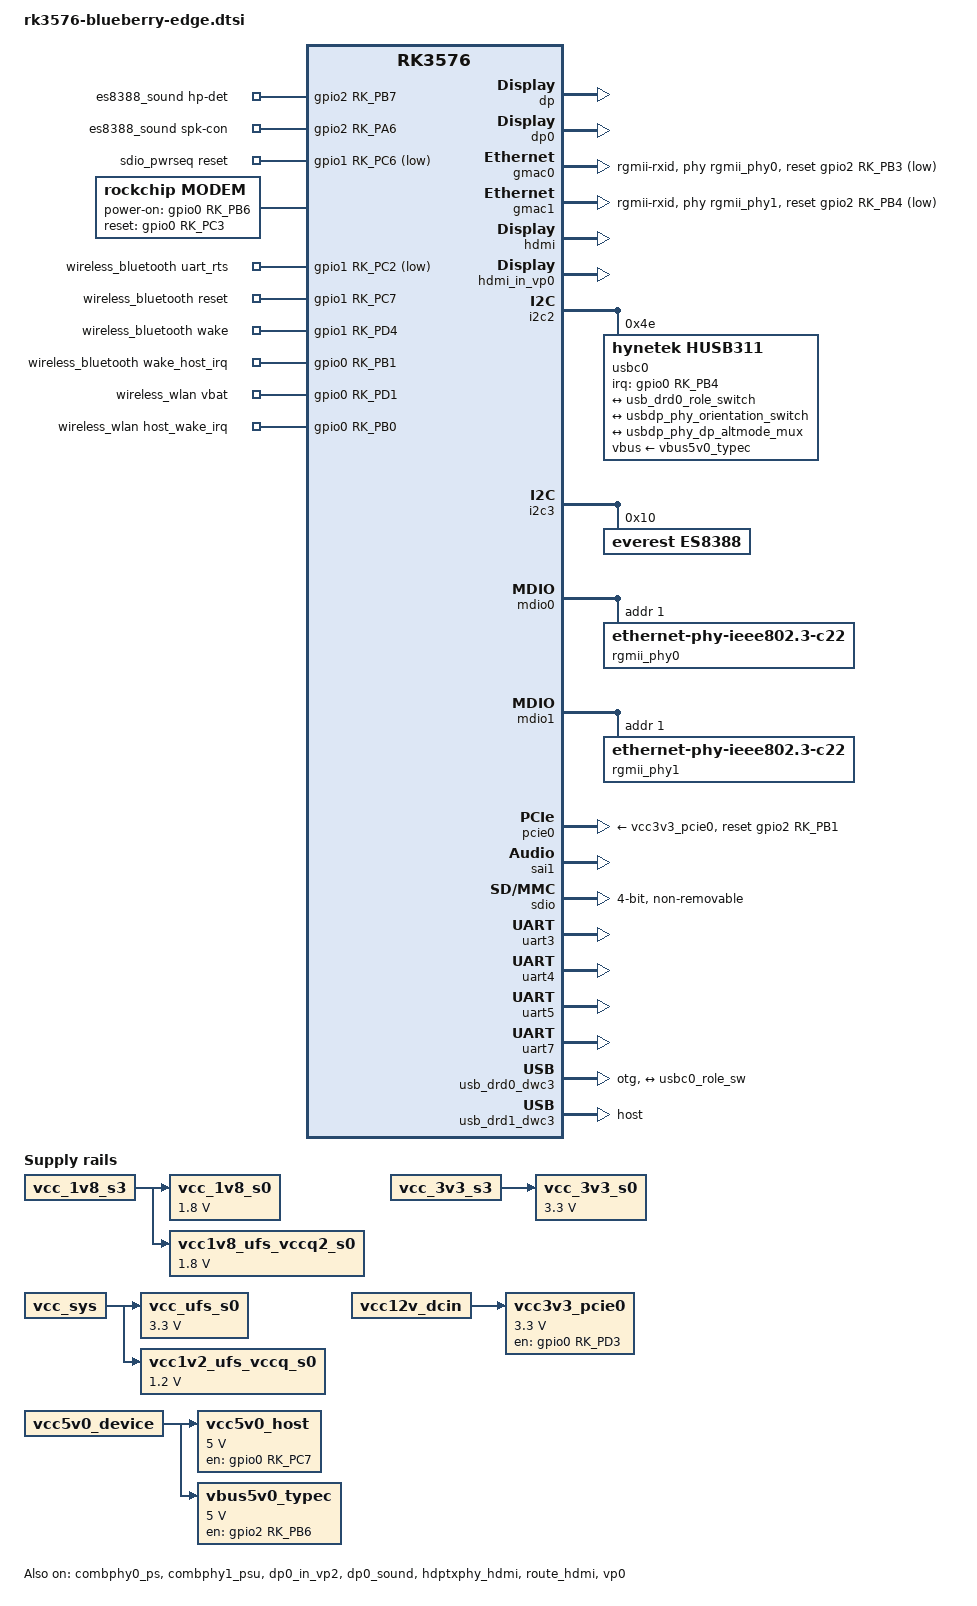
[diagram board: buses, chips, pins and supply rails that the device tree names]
// SPDX-License-Identifier: (GPL-2.0+ OR MIT)
/*
 * Copyright (c) 2024 Rockchip Electronics Co., Ltd.
 *
 */

#include <dt-bindings/usb/pd.h>
#include "rk3576.dtsi"
#include "rk3576-blueberry.dtsi"
#include "rk3576-rk806.dtsi"

/ {
	es8388_sound: es8388-sound {
		status = "okay";
		compatible = "rockchip,multicodecs-card";
		rockchip,card-name = "rockchip-es8388";
		hp-det-gpio = <&gpio2 RK_PB7 GPIO_ACTIVE_HIGH>;
		spk-con-gpio = <&gpio2 RK_PA6 GPIO_ACTIVE_HIGH>;
		//hp-con-gpio = <&gpio2 RK_PA6 GPIO_ACTIVE_HIGH>;
		rockchip,format = "i2s";
		rockchip,mclk-fs = <256>;
		rockchip,cpu = <&sai1>;
		rockchip,codec = <&es8388>;
		rockchip,audio-routing =
			"Headphone", "LOUT1",
			"Headphone", "ROUT1",
			"Speaker", "LOUT2",
			"Speaker", "ROUT2",
			"Headphone", "Headphone Power",
			"Headphone", "Headphone Power",
			"Speaker", "Speaker Power",
			"Speaker", "Speaker Power",
			"LINPUT1", "Main Mic",
			"LINPUT2", "Main Mic",
			"RINPUT1", "Headset Mic",
			"RINPUT2", "Headset Mic";
		pinctrl-names = "default";
		pinctrl-0 = <&hp_det>;
	};

	pdmics: dummy-codec {
		status = "disabled";
		compatible = "rockchip,dummy-codec";
		#sound-dai-cells = <0>;
	};

	pdm_mic_array: pdm-mic-array {
		status = "disabled";
		compatible = "simple-audio-card";
		simple-audio-card,name = "rockchip,pdm-mic-array";
		simple-audio-card,cpu {
			sound-dai = <&pdm1>;
		};
		simple-audio-card,codec {
			sound-dai = <&pdmics>;
		};
	};

	sdio_pwrseq: sdio-pwrseq {
		compatible = "mmc-pwrseq-simple";
		clocks = <&hym8563>;
		clock-names = "ext_clock";		
		pinctrl-names = "default";
		pinctrl-0 = <&wifi_poweren_gpio>;

		/*
		 * On the module itself this is one of these (depending
		 * on the actual card populated):
		 * - SDIO_RESET_L_WL_REG_ON
		 * - PDN (power down when low)
		 */
		post-power-on-delay-ms = <200>;
		reset-gpios = <&gpio1 RK_PC6 GPIO_ACTIVE_LOW>;
		status = "okay";
	};

	vcc_1v8_s0: vcc-1v8-s0 {
		compatible = "regulator-fixed";
		regulator-name = "vcc_1v8_s0";
		regulator-boot-on;
		regulator-always-on;
		regulator-min-microvolt = <1800000>;
		regulator-max-microvolt = <1800000>;
		vin-supply = <&vcc_1v8_s3>;
	};

	vcc_3v3_s0: vcc-3v3-s0 {
		compatible = "regulator-fixed";
		regulator-name = "vcc_3v3_s0";
		regulator-boot-on;
		regulator-always-on;
		regulator-min-microvolt = <3300000>;
		regulator-max-microvolt = <3300000>;
		vin-supply = <&vcc_3v3_s3>;
	};

	vcc_ufs_s0: vcc-ufs-s0 {
		compatible = "regulator-fixed";
		regulator-name = "vcc_ufs_s0";
		regulator-boot-on;
		regulator-always-on;
		regulator-min-microvolt = <3300000>;
		regulator-max-microvolt = <3300000>;
		vin-supply = <&vcc_sys>;
	};

	vcc1v8_ufs_vccq2_s0: vcc1v8-ufs-vccq2-s0 {
		compatible = "regulator-fixed";
		regulator-name = "vcc1v8_ufs_vccq2_s0";
		regulator-boot-on;
		regulator-always-on;
		regulator-min-microvolt = <1800000>;
		regulator-max-microvolt = <1800000>;
		vin-supply = <&vcc_1v8_s3>;
	};

	vcc1v2_ufs_vccq_s0: vcc1v2-ufs-vccq-s0 {
		compatible = "regulator-fixed";
		regulator-name = "vcc1v2_ufs_vccq_s0";
		regulator-boot-on;
		regulator-always-on;
		regulator-min-microvolt = <1200000>;
		regulator-max-microvolt = <1200000>;
		vin-supply = <&vcc_sys>;
	};

	vcc3v3_pcie0: vcc3v3-pcie0 {
		compatible = "regulator-fixed";
		regulator-name = "vcc3v3_pcie0";
		regulator-min-microvolt = <3300000>;
		regulator-max-microvolt = <3300000>;
		enable-active-high;
		gpios = <&gpio0 RK_PD3 GPIO_ACTIVE_HIGH>;
		startup-delay-us = <5000>;
		vin-supply = <&vcc12v_dcin>;
	};

	vcc5v0_host: vcc5v0-host {
		compatible = "regulator-fixed";
		regulator-name = "vcc5v0_host";
		regulator-boot-on;
		regulator-always-on;
		regulator-min-microvolt = <5000000>;
		regulator-max-microvolt = <5000000>;
		enable-active-high;
		gpio = <&gpio0 RK_PC7 GPIO_ACTIVE_HIGH>;
		vin-supply = <&vcc5v0_device>;
		pinctrl-names = "default";
		pinctrl-0 = <&usb_host_pwren>;
	};

	vbus5v0_typec: vbus5v0-typec {
		compatible = "regulator-fixed";
		regulator-name = "vbus5v0_typec";
		regulator-min-microvolt = <5000000>;
		regulator-max-microvolt = <5000000>;
		enable-active-high;
		gpio = <&gpio2 RK_PB6 GPIO_ACTIVE_HIGH>;
		vin-supply = <&vcc5v0_device>;
		pinctrl-names = "default";
		pinctrl-0 = <&usb_otg0_pwren>;
	};

	//vcc_mipicsi0: vcc-mipicsi0-regulator {
	//	compatible = "regulator-fixed";
	//	gpio = <&gpio3 RK_PB0 GPIO_ACTIVE_HIGH>;
	//	pinctrl-names = "default";
	//	pinctrl-0 = <&mipicsi0_pwr>;
	//	regulator-name = "vcc_mipicsi0";
	//	enable-active-high;
	//};

	//vcc_mipidcphy0: vcc-mipidcphy0-regulator {
	//	compatible = "regulator-fixed";
	//	gpio = <&gpio3 RK_PC6 GPIO_ACTIVE_HIGH>;
	//	pinctrl-names = "default";
	//	pinctrl-0 = <&mipidcphy0_pwr>;
	//	regulator-name = "vcc_mipidcphy0";
	//	enable-active-high;
	//};

	modem {
		compatible = "rockchip,modem";
		status = "okay";
		power-on_gpio = <&gpio0 RK_PB6 GPIO_ACTIVE_HIGH>;
		reset_gpio = <&gpio0 RK_PC3 GPIO_ACTIVE_HIGH>; //GPIO_C4
	};

	wireless_bluetooth: wireless-bluetooth {
		compatible = "bluetooth-platdata";
		uart_rts_gpios = <&gpio1 RK_PC2 GPIO_ACTIVE_LOW>;
		pinctrl-names = "default", "rts_gpio";
		pinctrl-0 = <&uart4m1_rtsn>;
		pinctrl-1 = <&uart4_gpios>;
		BT,reset_gpio    = <&gpio1 RK_PC7 GPIO_ACTIVE_HIGH>;
		BT,wake_gpio     = <&gpio1 RK_PD4 GPIO_ACTIVE_HIGH>;
		BT,wake_host_irq = <&gpio0 RK_PB1 GPIO_ACTIVE_HIGH>;
		status = "okay";
	};

	wireless_wlan: wireless-wlan {
		compatible = "wlan-platdata";
		clocks = <&hym8563>;
		clock-names = "ext_clock";		
		wifi_chip_type = "ap6275p";
		pinctrl-names = "default";
		pinctrl-0 = <&wifi_host_wake_irq>;
		WIFI,vbat_gpio = <&gpio0 RK_PD1 GPIO_ACTIVE_HIGH>;
		WIFI,host_wake_irq = <&gpio0 RK_PB0 GPIO_ACTIVE_HIGH>;
		//WIFI,poweren_gpio = <&gpio1 RK_PC6 GPIO_ACTIVE_HIGH>;
		status = "okay";
	};	
};

&combphy0_ps {
	status = "okay";
};

&combphy1_psu {
	status = "okay";
};

&dp {
	status = "okay";
};

&dp0 {
	status = "okay";
};

&dp0_in_vp2 {
	status = "okay";
};

&dp0_sound {
	status = "okay";
};

&gmac0 {
	/* Use rgmii-rxid mode to disable rx delay inside Soc */
	phy-mode = "rgmii-rxid";
	clock_in_out = "output";

	snps,reset-gpio = <&gpio2 RK_PB3 GPIO_ACTIVE_LOW>;
	snps,reset-active-low;
	/* Reset time is 20ms, 100ms for rtl8211f */
	snps,reset-delays-us = <0 20000 100000>;

	pinctrl-names = "default";
	pinctrl-0 = <&eth0m0_miim
		     &eth0m0_tx_bus2
		     &eth0m0_rx_bus2
		     &eth0m0_rgmii_clk
		     &eth0m0_rgmii_bus
		     &ethm0_clk0_25m_out>;

	tx_delay = <0x21>;
	/* rx_delay = <0x3f>; */

	phy-handle = <&rgmii_phy0>;
	status = "okay";
};

&gmac1 {
	/* Use rgmii-rxid mode to disable rx delay inside Soc */
	phy-mode = "rgmii-rxid";
	clock_in_out = "output";

	snps,reset-gpio = <&gpio2 RK_PB4 GPIO_ACTIVE_LOW>;
	snps,reset-active-low;
	/* Reset time is 20ms, 100ms for rtl8211f */
	snps,reset-delays-us = <0 20000 100000>;

	pinctrl-names = "default";
	pinctrl-0 = <&eth1m0_miim
		     &eth1m0_tx_bus2
		     &eth1m0_rx_bus2
		     &eth1m0_rgmii_clk
		     &eth1m0_rgmii_bus
		     &ethm0_clk1_25m_out>;

	tx_delay = <0x20>;
	/* rx_delay = <0x3f>; */

	phy-handle = <&rgmii_phy1>;
	status = "okay";
};

&hdmi {
	status = "okay";
	enable-gpios = <&gpio2 RK_PB0 GPIO_ACTIVE_HIGH>;
	rockchip,sda-falling-delay-ns = <360>;
};

&hdmi_in_vp0 {
	status = "okay";
};

&hdptxphy_hdmi {
	status = "okay";
};

&i2c2 {
	status = "okay";

	usbc0: husb311@4e {
		compatible = "hynetek,husb311";
		reg = <0x4e>;
		interrupt-parent = <&gpio0>;
		interrupts = <RK_PB4 IRQ_TYPE_LEVEL_LOW>;
		pinctrl-names = "default";
		pinctrl-0 = <&usbc0_int>;
		vbus-supply = <&vbus5v0_typec>;
		status = "okay";

		port {
			usbc0_role_sw: endpoint {
				remote-endpoint = <&usb_drd0_role_switch>;
			};
		};

		usb_con: connector {
			compatible = "usb-c-connector";
			label = "USB-C";
			data-role = "dual";
			power-role = "dual";
			try-power-role = "sink";
			op-sink-microwatt = <1000000>;
			sink-pdos =
				<PDO_FIXED(5000, 1000, PDO_FIXED_USB_COMM)>;
			source-pdos =
				<PDO_FIXED(5000, 3000, PDO_FIXED_USB_COMM)>;

			altmodes {
				#address-cells = <1>;
				#size-cells = <0>;

				altmode@0 {
					reg = <0>;
					svid = <0xff01>;
					vdo = <0xffffffff>;
				};
			};

			ports {
				#address-cells = <1>;
				#size-cells = <0>;

				port@0 {
					reg = <0>;
					usbc0_orien_sw: endpoint {
						remote-endpoint = <&usbdp_phy_orientation_switch>;
					};
				};

				port@1 {
					reg = <1>;
					dp_altmode_mux: endpoint {
						remote-endpoint = <&usbdp_phy_dp_altmode_mux>;
					};
				};
			};
		};
	};
};

&i2c3 {
	status = "okay";
	es8388: es8388@10 {
		status = "okay";
		#sound-dai-cells = <0>;
		compatible = "everest,es8388", "everest,es8323";
		reg = <0x10>;
		clocks = <&mclkout_sai1>;
		clock-names = "mclk";
		assigned-clocks = <&mclkout_sai1>;
		assigned-clock-rates = <12288000>;
		pinctrl-names = "default";
		pinctrl-0 = <&sai1m0_mclk>;
	};
};

&mdio0 {
	rgmii_phy0: phy@1 {
		compatible = "ethernet-phy-ieee802.3-c22";
		reg = <0x1>;
		clocks = <&cru REFCLKO25M_GMAC0_OUT>;
	};
};

&mdio1 {
	rgmii_phy1: phy@1 {
		compatible = "ethernet-phy-ieee802.3-c22";
		reg = <0x1>;
		clocks = <&cru REFCLKO25M_GMAC1_OUT>;
	};
};

&pcie0 {
	reset-gpios = <&gpio2 RK_PB1 GPIO_ACTIVE_HIGH>;
	vpcie3v3-supply = <&vcc3v3_pcie0>;
	rockchip,skip-scan-in-resume;
	status = "okay";
};

&pdm1 {
	status = "disabled";
	pinctrl-names = "default";
	pinctrl-0 = <&pdm1m1_clk0
		     &pdm1m1_clk1
		     &pdm1m1_sdi0
		     &pdm1m1_sdi1
		     &pdm1m1_sdi2
		     &pdm1m1_sdi3>;
};

&pinctrl {
	cam {
		//mipicsi0_pwr: mipicsi0-pwr {
		//	rockchip,pins =
		//		/* camera power en */
		//		<3 RK_PB0 RK_FUNC_GPIO &pcfg_pull_none>;
		//};

		//mipidcphy0_pwr: mipidcphy0-pwr {
		//	rockchip,pins =
		//		/* camera power en */
		//		<3 RK_PC6 RK_FUNC_GPIO &pcfg_pull_none>;
		//};
	};

	headphone {
		hp_det: hp-det {
			rockchip,pins = <2 RK_PB7 RK_FUNC_GPIO &pcfg_pull_none>;
		};
	};

	usb {
		usb_host_pwren: usb-host-pwren {
			rockchip,pins = <0 RK_PC7 RK_FUNC_GPIO &pcfg_pull_none>;
		};

		usb_otg0_pwren: usb-otg0-pwren {
			rockchip,pins = <2 RK_PB6 RK_FUNC_GPIO &pcfg_pull_none>;
		};

		usbc0_int: usbc0-int {
			rockchip,pins = <0 RK_PB4 RK_FUNC_GPIO &pcfg_pull_up>;
		};
	};

	wireless-bluetooth {
		uart4_gpios: uart4-gpios {
			rockchip,pins = <1 RK_PC2 RK_FUNC_GPIO &pcfg_pull_none>;
		};
	};

	wireless-wlan {
		wifi_host_wake_irq: wifi-host-wake-irq {
			rockchip,pins = <0 RK_PB0 RK_FUNC_GPIO &pcfg_pull_down>;
		};

		wifi_poweren_gpio: wifi-poweren-gpio {
			rockchip,pins = <1 RK_PC6 RK_FUNC_GPIO &pcfg_pull_up>;
		};
	};
};

&route_hdmi {
	status = "okay";
	connect = <&vp0_out_hdmi>;
};

&sai1 {
	status = "okay";
	rockchip,sai-tx-route = <1 2 0 3>;
	pinctrl-names = "default";
	pinctrl-0 = <&sai1m0_lrck
		     &sai1m0_sclk
		     &sai1m0_sdi0
		     &sai1m0_sdo2>;
};

&sdio {
	max-frequency = <200000000>;
	no-sd;
	no-mmc;
	bus-width = <4>;
	disable-wp;
	cap-sd-highspeed;
	cap-sdio-irq;
	keep-power-in-suspend;
	mmc-pwrseq = <&sdio_pwrseq>;
	non-removable;
	pinctrl-names = "default";
	pinctrl-0 = <&sdmmc1m0_bus4 &sdmmc1m0_clk &sdmmc1m0_cmd>;
	sd-uhs-sdr104;
	status = "okay";
};

&uart3 {
	status = "okay";
	pinctrl-names = "default";
	pinctrl-0 = <&uart3m0_xfer>;
};

&uart4 {
	status = "okay";
	pinctrl-names = "default";
	pinctrl-0 = <&uart4m1_xfer &uart4m1_ctsn>;
};

&uart5 {
	status = "okay";
	//RS485_Ctrl gpio3_a3 pin99
	pinctrl-names = "default";
	pinctrl-0 = <&uart5m2_xfer>;
	linux,rs485-enabled-at-boot-time;
};

&uart7 {
	status = "okay";
	pinctrl-names = "default";
	pinctrl-0 = <&uart7m2_xfer>;
};

&u2phy0_otg {
	rockchip,typec-vbus-det;
};

&u2phy1_otg {
	phy-supply = <&vcc5v0_host>;
};

&usbdp_phy {
	orientation-switch;
	svid = <0xff01>;
	sbu1-dc-gpios = <&gpio4 RK_PC4 GPIO_ACTIVE_HIGH>;
	sbu2-dc-gpios = <&gpio4 RK_PC5 GPIO_ACTIVE_HIGH>;

	port {
		#address-cells = <1>;
		#size-cells = <0>;

		usbdp_phy_orientation_switch: endpoint@0 {
			reg = <0>;
			remote-endpoint = <&usbc0_orien_sw>;
		};

		usbdp_phy_dp_altmode_mux: endpoint@1 {
			reg = <1>;
			remote-endpoint = <&dp_altmode_mux>;
		};
	};
};

&usb_drd0_dwc3 {
	dr_mode = "otg";
	usb-role-switch;
	port {
		usb_drd0_role_switch: endpoint {
			remote-endpoint = <&usbc0_role_sw>;
		};
	};
};

&usb_drd1_dwc3 {
	dr_mode = "host";
	status = "okay";
};

&vp0 {
	status = "okay";
};
